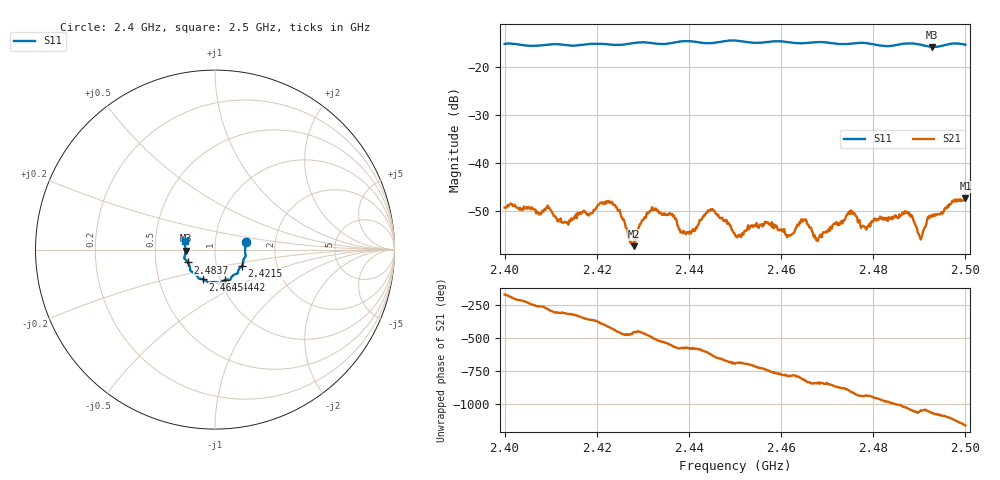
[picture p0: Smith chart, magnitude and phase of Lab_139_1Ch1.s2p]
# Hz S RI R 50
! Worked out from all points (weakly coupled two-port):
!   601 points, 2.4 GHz to 2.5 GHz, reference 50 ohm
!   highest |S21| = -47.28 dB at 2.5 GHz (marker M1); lowest = -57.3 dB at 2.428 GHz (marker M2)
!   lowest |S11| = -15.7 dB at 2.4928 GHz (marker M3), VSWR 1.39, Z = 35.9 - j0.389 ohm
!   |S11| at or under -10 dB: start of sweep to end of sweep
!   S12 and S22 are empty: the file has one direction only
!   S11 on the Smith chart (normalised r, x): 2.4 GHz: 1.41, +0.12; 2.4215 GHz: 1.33, -0.25; 2.4442 GHz: 1.05, -0.37; 2.4645 GHz: 0.83, -0.29; 2.4837 GHz: 0.73, -0.11; 2.5 GHz: 0.71, +0.07
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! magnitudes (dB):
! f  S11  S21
! 2.4 GHz  -15.1  -49.2
! 2.4133 GHz  -15.3  -52.4
! 2.4167 GHz  -15.3  -50.3
! 2.4215 GHz  -15.1  -48.4
! 2.4245 GHz  -15.3  -49.7
! 2.428 GHz  -14.9  -57.3
! 2.4333 GHz  -15.1  -49.9
! 2.4395 GHz  -14.5  -54.4
! 2.4442 GHz  -15.0  -49.8
! 2.45 GHz  -14.4  -54.8
! 2.457 GHz  -14.7  -52.3
! 2.4618 GHz  -14.8  -55.0
! 2.4645 GHz  -15.0  -51.7
! 2.4667 GHz  -14.8  -54.1
! 2.475 GHz  -15.1  -50.6
! 2.478 GHz  -14.9  -53.1
! 2.4833 GHz  -15.6  -51.2
! 2.4837 GHz  -15.5  -51.4
! 2.4875 GHz  -15.0  -50.5
! 2.4902 GHz  -15.2  -55.5
! 2.4928 GHz  -15.7  -51.1
! 2.5 GHz  -15.3  -47.3
